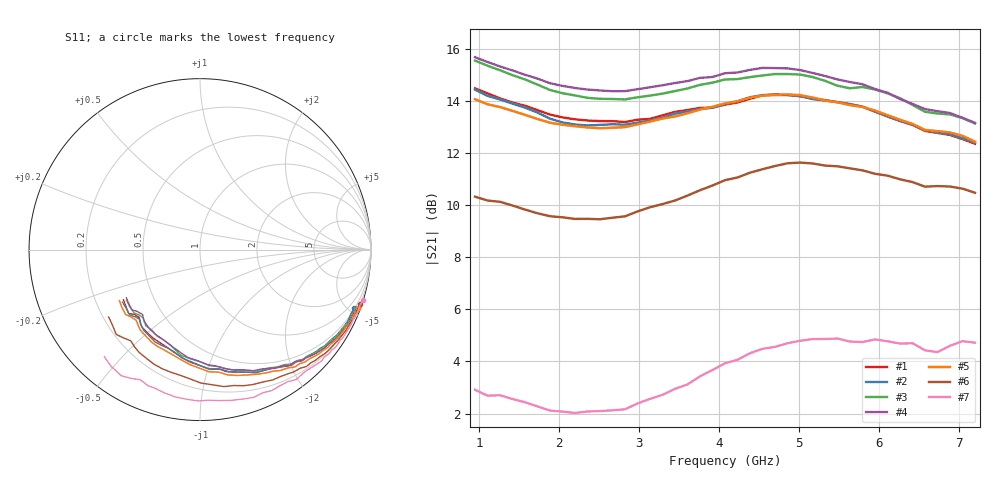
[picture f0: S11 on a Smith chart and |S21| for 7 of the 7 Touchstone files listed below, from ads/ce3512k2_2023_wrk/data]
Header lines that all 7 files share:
!Keysight Technologies,M9375A,US54320202,A.12.55.09
!Correction: S11(Full 2 Port(1,2))
!S21(Full 2 Port(1,2))
!S12(Full 2 Port(1,2))
!S22(Full 2 Port(1,2))
!S2P File: Measurements: S11, S21, S12, S22:
# Hz S  RI  R 50
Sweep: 950 MHz to 7.2 GHz
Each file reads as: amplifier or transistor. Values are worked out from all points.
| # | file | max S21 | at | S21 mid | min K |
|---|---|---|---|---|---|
| 1 | Vds2Vgs00.s2p | 14.5 dB | 950 MHz | 13.9 dB at 4.075 GHz | 0.27 |
| 2 | Vds2Vgs01.s2p | 14.4 dB | 950 MHz | 13.9 dB at 4.075 GHz | 0.30 |
| 3 | Vds2Vgs02.s2p | 15.6 dB | 950 MHz | 14.8 dB at 4.075 GHz | 0.17 |
| 4 | Vds2Vgs03.s2p | 15.7 dB | 950 MHz | 15.1 dB at 4.075 GHz | 0.18 |
| 5 | Vds2Vgs04.s2p | 14.2 dB | 4.856 GHz | 13.9 dB at 4.075 GHz | 0.15 |
| 6 | Vds2Vgs05.s2p | 11.6 dB | 5.013 GHz | 11.0 dB at 4.075 GHz | 0.12 |
| 7 | Vds2Vgs06.s2p | 4.9 dB | 5.481 GHz | 3.9 dB at 4.075 GHz | 0.07 |
